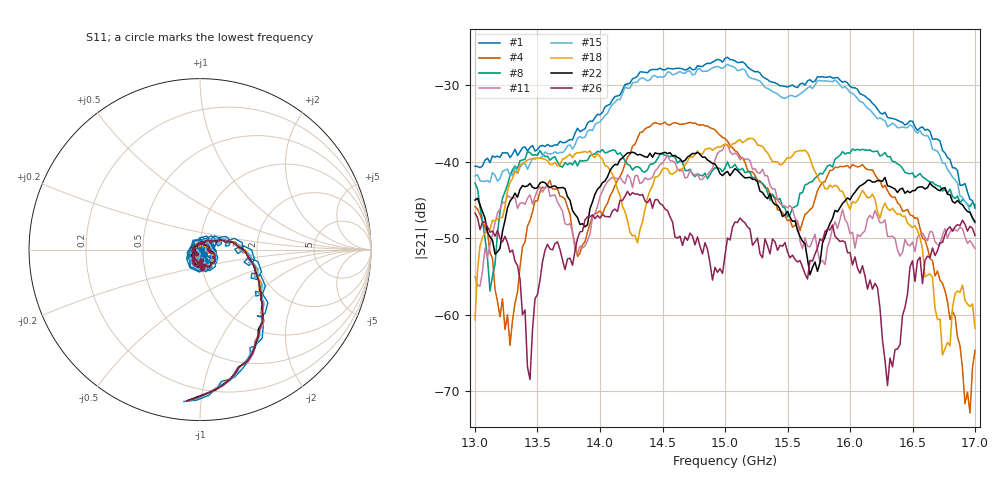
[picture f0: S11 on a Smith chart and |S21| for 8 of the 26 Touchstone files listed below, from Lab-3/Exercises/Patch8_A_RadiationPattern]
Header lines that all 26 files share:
!Keysight Technologies,P9374A,MY57211810,A.19.30.04
!Correction: S11(Cdelta 2-Port  )
!S21(Cdelta 2-Port  )
!S12(Cdelta 2-Port  )
!S22(Cdelta 2-Port  )
!S2P File: Measurements: S11, S21, S12, S22:
# Hz S  dB  R 50
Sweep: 13 GHz to 17 GHz
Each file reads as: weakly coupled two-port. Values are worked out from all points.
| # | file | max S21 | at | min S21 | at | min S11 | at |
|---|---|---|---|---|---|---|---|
| 1 | Patch8_A_0deg.s2p | -26.35 dB | 15.02 GHz | -46.1 dB | 17 GHz | -80.6 dB | 13.88 GHz |
| 2 | Patch8_A_4deg.s2p | -26.88 dB | 15.02 GHz | -45.7 dB | 16.98 GHz | -47.2 dB | 13.88 GHz |
| 3 | Patch8_A_8deg.s2p | -30.22 dB | 14.8 GHz | -56.8 dB | 16.94 GHz | -34.7 dB | 14.08 GHz |
| 4 | Patch8_A_12deg.s2p | -34.82 dB | 14.52 GHz | -72.8 dB | 16.96 GHz | -34.9 dB | 13.98 GHz |
| 5 | Patch8_A_16deg.s2p | -35.36 dB | 13.82 GHz | -64.6 dB | 16.78 GHz | -34.2 dB | 14.1 GHz |
| 6 | Patch8_A_20deg.s2p | -33.11 dB | 13.7 GHz | -60.2 dB | 16.72 GHz | -32.2 dB | 13.66 GHz |
| 7 | Patch8_A_24deg.s2p | -35.62 dB | 14.02 GHz | -57.4 dB | 13.12 GHz | -33.2 dB | 13.66 GHz |
| 8 | Patch8_A_28deg.s2p | -38.32 dB | 16.02 GHz | -56.9 dB | 13.12 GHz | -34.1 dB | 15.68 GHz |
| 9 | Patch8_A_32deg.s2p | -38.32 dB | 16.28 GHz | -53.6 dB | 13.16 GHz | -33.7 dB | 13.96 GHz |
| 10 | Patch8_A_36deg.s2p | -38.64 dB | 13.52 GHz | -70.5 dB | 13.14 GHz | -33.6 dB | 13.98 GHz |
| 11 | Patch8_A_40deg.s2p | -37.75 dB | 15.02 GHz | -56.3 dB | 13.04 GHz | -33.4 dB | 15.64 GHz |
| 12 | Patch8_A_44deg.s2p | -41.23 dB | 14.4 GHz | -64.9 dB | 13.1 GHz | -33.0 dB | 13.98 GHz |
| 13 | Patch8_A_48deg.s2p | -40.09 dB | 14.4 GHz | -66.3 dB | 15.42 GHz | -32.6 dB | 14.06 GHz |
| 14 | Patch8_A_52deg.s2p | -43.14 dB | 14.4 GHz | -69.7 dB | 14.96 GHz | -34.0 dB | 13.98 GHz |
| 15 | Patch8_A_-4deg.s2p | -27.28 dB | 15.02 GHz | -48.1 dB | 17 GHz | -38.1 dB | 13.88 GHz |
| 16 | Patch8_A_-8deg.s2p | -32.70 dB | 14.54 GHz | -56.4 dB | 16.94 GHz | -32.9 dB | 13.72 GHz |
| 17 | Patch8_A_-12deg.s2p | -36.40 dB | 14.76 GHz | -68.9 dB | 13.18 GHz | -31.7 dB | 13.98 GHz |
| 18 | Patch8_A_-16deg.s2p | -36.94 dB | 15.2 GHz | -65.2 dB | 16.74 GHz | -35.1 dB | 14.08 GHz |
| 19 | Patch8_A_-20deg.s2p | -36.29 dB | 13.98 GHz | -72.8 dB | 16.82 GHz | -33.6 dB | 13.98 GHz |
| 20 | Patch8_A_-24deg.s2p | -37.61 dB | 13.54 GHz | -55.8 dB | 13.08 GHz | -32.7 dB | 14 GHz |
| 21 | Patch8_A_-28deg.s2p | -37.74 dB | 13.58 GHz | -52.3 dB | 13.1 GHz | -32.2 dB | 14.04 GHz |
| 22 | Patch8_A_-36deg.s2p | -38.75 dB | 14.26 GHz | -54.8 dB | 15.68 GHz | -32.1 dB | 13.66 GHz |
| 23 | Patch8_A_-40deg.s2p | -38.47 dB | 15.06 GHz | -71.9 dB | 15.74 GHz | -32.7 dB | 14 GHz |
| 24 | Patch8_A_-44deg.s2p | -39.82 dB | 14.96 GHz | -62.8 dB | 15.56 GHz | -32.1 dB | 14.08 GHz |
| 25 | Patch8_A_-48deg.s2p | -41.92 dB | 14.88 GHz | -90.9 dB | 15.56 GHz | -32.6 dB | 14 GHz |
| 26 | Patch8_A_-52deg.s2p | -43.86 dB | 14.22 GHz | -69.2 dB | 16.3 GHz | -32.4 dB | 13.96 GHz |
